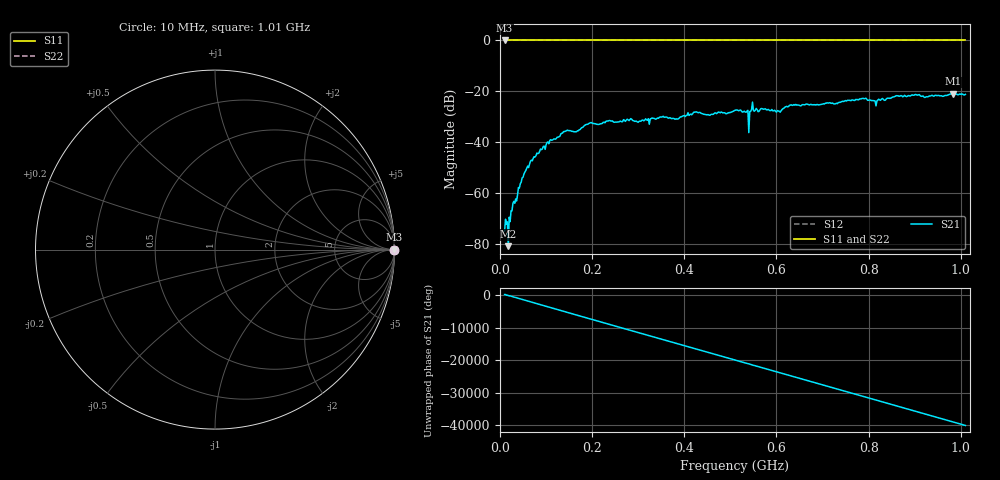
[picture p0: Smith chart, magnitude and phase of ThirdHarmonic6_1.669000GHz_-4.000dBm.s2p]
! 8/16/2025 8:00:28 PM
! C:\ANRITSUVNA\TEMP\TEMP.S2P
! CHANNEL.1
! TR.MEASUREMENT
! RAW.DATA
! RF.CORRECTION.OFF
! AVERAGING.OFF
! IF.BANDWIDTH: 5KHZ
! SWEEPTYPE:  FREQ.SWEEP(Linear)
! Reference Plane Port Info
! PORT:  PORT1  PORT2
! DISTANCE:  0  m  0  m
! TIME:  0  s  0  s
! PHASE.OFFSET:  0  deg.  0  deg.
! LOSS:  0  dB  0  dB
! REF.LOSS:  0  dB  0  dB
! REF.FREQ:  0  Hz  0  Hz
! Power Info
! POWER:  -20  dBm  -20  dBm
! EFF.POWER:  -20  dBm  -20  dBm
! SOURCE.ATTEN:  0  dB  0  dB
! TEST.ATTEN:  0  dB  0  dB
# GHZ S RI R 50.0
! FREQ.GHZ  S11RE  S11IM  S21RE  S21IM  S12RE  S12IM  S22RE  S22IM
!; PortSelection: Port_12
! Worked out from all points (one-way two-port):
!   501 points, 10 MHz to 1.01 GHz, reference 50 ohm
!   highest |S21| = -20.88 dB at 984 MHz (marker M1); lowest = -80.7 dB at 18 MHz (marker M2)
!   lowest |S11| = 0.0 dB at 10 MHz (marker M3)
!   |S11| at or under -10 dB: nowhere
!   |S22| runs from 0.0 to 0.0 dB; largest |S21 - S12| = 1.1
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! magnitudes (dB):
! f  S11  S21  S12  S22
! 10 MHz  0.0  -74.7  0.0  0.0
! 18 MHz  0.0  -80.7  0.0  0.0
! 22 MHz  0.0  -71.1  0.0  0.0
! 28 MHz  0.0  -63.9  0.0  0.0
! 44 MHz  0.0  -56.3  0.0  0.0
! 70 MHz  0.0  -47.3  0.0  0.0
! 106 MHz  0.0  -40.5  0.0  0.0
! 136 MHz  0.0  -36.3  0.0  0.0
! 178 MHz  0.0  -34.2  0.0  0.0
! 196 MHz  0.0  -32.3  0.0  0.0
! 344 MHz  0.0  -30.5  0.0  0.0
! 510 MHz  0.0  -27.4  0.0  0.0
! 534 MHz  0.0  -28.2  0.0  0.0
! 536 MHz  0.0  -27.8  0.0  0.0
! 542 MHz  0.0  -27.9  0.0  0.0
! 546 MHz  0.0  -27.0  0.0  0.0
! 604 MHz  0.0  -27.7  0.0  0.0
! 632 MHz  0.0  -25.2  0.0  0.0
! 678 MHz  0.0  -25.3  0.0  0.0
! 844 MHz  0.0  -22.7  0.0  0.0
! 984 MHz  0.0  -20.9  0.0  0.0
! 1.01 GHz  0.0  -21.2  0.0  0.0
